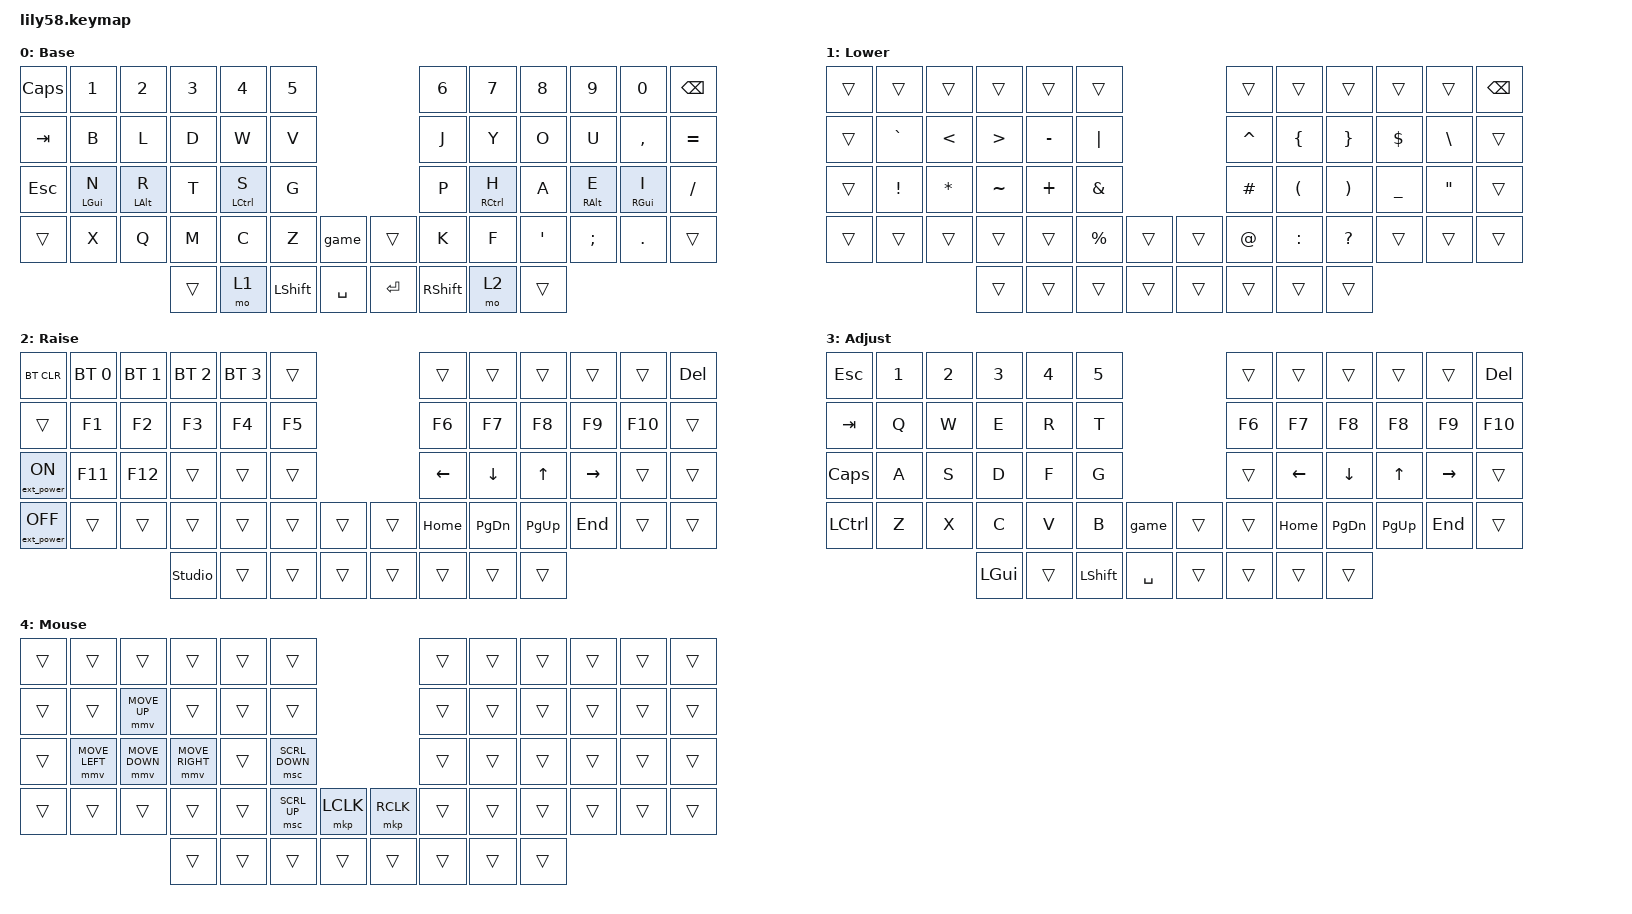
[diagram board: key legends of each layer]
/*
 * Copyright (c) 2020 The ZMK Contributors
 *
 * SPDX-License-Identifier: MIT
 */

#include <behaviors.dtsi>
#include <dt-bindings/zmk/bt.h>
#include <dt-bindings/zmk/ext_power.h>
#include <dt-bindings/zmk/keys.h>
#include <dt-bindings/zmk/pointing.h>

#define default_layer 0
#define lower_layer 1
#define raise_layer 2
#define adjust_layer 3
#define extra 4

/ {
    behaviors {
        home_row_mod: home_row_mod {
            compatible = "zmk,behavior-hold-tap";
            label = "HOME_ROW_MOD";
            bindings = <&kp>, <&kp>;

            #binding-cells = <2>;
            tapping-term-ms = <200>;
            flavor = "tap-preferred";
            require-prior-idle-ms = <125>;
            quick-tap-ms = <175>;
        };

        home_j: home_j {
            compatible = "zmk,behavior-tap-dance";
            label = "HOME_J";
            #binding-cells = <0>;
            bindings = <&home_row_mod RIGHT_CONTROL J>, <&kp J>;

            tapping-term-ms = <130>;
        };

        home_f: home_f {
            compatible = "zmk,behavior-tap-dance";
            label = "HOME_F";
            #binding-cells = <0>;
            bindings = <&home_row_mod LEFT_CONTROL F>, <&kp F>;

            tapping-term-ms = <130>;
        };

        home_a: home_a {
            compatible = "zmk,behavior-tap-dance";
            label = "HOME_A";
            #binding-cells = <0>;
            bindings = <&home_row_mod LEFT_GUI A>, <&kp A>;

            tapping-term-ms = <130>;
        };

        home_semicolon: home_semicolon {
            compatible = "zmk,behavior-tap-dance";
            label = "HOME_SEMICOLON";
            #binding-cells = <0>;
            bindings = <&home_row_mod RIGHT_GUI SEMICOLON>, <&kp SEMICOLON>;

            tapping-term-ms = <130>;
        };

        home_s: home_s {
            compatible = "zmk,behavior-tap-dance";
            label = "HOME_S";
            #binding-cells = <0>;
            bindings = <&home_row_mod LEFT_ALT S>, <&kp S>;

            tapping-term-ms = <130>;
        };

        home_l: home_l {
            compatible = "zmk,behavior-tap-dance";
            label = "HOME_L";
            #binding-cells = <0>;
            bindings = <&home_row_mod RIGHT_ALT L>, <&kp L>;

            tapping-term-ms = <130>;
        };

        game: game {
            compatible = "zmk,behavior-tap-dance";
            label = "GAME";
            #binding-cells = <0>;
            bindings = <&none>, <&tog 3>;
        };
    };

    keymap {
        compatible = "zmk,keymap";

        default_layer {
            display-name = "Base";

            // ------------------------------------------------------------------------------------------------------------
            // |  ESC  |  1  |  2  |  3   |  4   |  5   |                   |  6   |  7    |  8    |  9   |   0   |   `   |
            // |  TAB  |  Q  |  W  |  E   |  R   |  T   |                   |  Y   |  U    |  I    |  O   |   P   |   -   |
            // |  CTRL |  A  |  S  |  D   |  F   |  G   |                   |  H   |  J    |  K    |  L   |   ;   |   '   |
            // | SHIFT |  Z  |  X  |  C   |  V   |  B   |   "["  |  |  "]"  |  N   |  M    |  ,    |  .   |   /   | SHIFT |
            //                     | ALT  | GUI  | LOWER|  SPACE |  | ENTER | RAISE| BSPC  | GUI   |

            bindings = <
&kp CAPSLOCK  &kp N1                    &kp N2                    &kp N3  &kp N4                        &kp N5                                &kp N6           &kp N7                         &kp N8            &kp N9                     &kp N0                     &kp BACKSPACE
&kp TAB       &kp B                     &kp L                     &kp D   &kp W                         &kp V                                 &kp J            &kp Y                          &kp O             &kp U                      &kp COMMA                  &kp EQUAL
&kp ESCAPE    &home_row_mod LEFT_GUI N  &home_row_mod LEFT_ALT R  &kp T   &home_row_mod LEFT_CONTROL S  &kp G                                 &kp P            &home_row_mod RIGHT_CONTROL H  &kp A             &home_row_mod RIGHT_ALT E  &home_row_mod RIGHT_GUI I  &kp SLASH
&trans        &kp X                     &kp Q                     &kp M   &kp C                         &kp Z           &game        &trans   &kp K            &kp F                          &kp SINGLE_QUOTE  &kp SEMICOLON              &kp PERIOD                 &trans
                                                                  &trans  &mo 1                         &kp LEFT_SHIFT  &kp SPACE    &kp RET  &kp RIGHT_SHIFT  &mo 2                          &trans
            >;
        };

        lower_layer {
            display-name = "Lower";

            // ------------------------------------------------------------------------------------------------------------
            // | BTCLR | BT1 | BT2 |  BT3 |  BT4 |  BT5 |                   |      |       |       |      |       |       |
            // |  F1   |  F2 |  F3 |  F4  |  F5  |  F6  |                   |  F7  |  F8   |  F9   |  F10 |  F11  |  F12  |
            // |   `   |  !  |  @  |  #   |  $   |  %   |                   |  ^   |  &    |  *    |  (   |   )   |   ~   |
            // |       |     |     |      |      |      |        |  |       |      |  _    |  +    |  {   |   }   |  "|"  |
            //                     |      |      |      |        |  |       |      |       |       |

            bindings = <
&trans  &trans           &trans         &trans            &trans     &trans                           &trans       &trans                &trans                 &trans      &trans             &kp BACKSPACE
&trans  &kp GRAVE        &kp LESS_THAN  &kp GREATER_THAN  &kp MINUS  &kp PIPE                         &kp CARET    &kp LEFT_BRACE        &kp RIGHT_BRACE        &kp DOLLAR  &kp BACKSLASH      &trans
&trans  &kp EXCLAMATION  &kp ASTERISK   &kp TILDE         &kp PLUS   &kp AMPERSAND                    &kp HASH     &kp LEFT_PARENTHESIS  &kp RIGHT_PARENTHESIS  &kp UNDER   &kp DOUBLE_QUOTES  &trans
&trans  &trans           &trans         &trans            &trans     &kp PERCENT    &trans    &trans  &kp AT_SIGN  &kp COLON             &kp QUESTION           &trans      &trans             &trans
                                        &trans            &trans     &trans         &trans    &trans  &trans       &trans                &trans
            >;
        };

        raise_layer {
            display-name = "Raise";

            // ------------------------------------------------------------------------------------------------------------
            // |       |     |     |      |      |      |                   |      |       |       |      |       |       |
            // |   `   |  1  |  2  |  3   |  4   |  5   |                   |  6   |   7   |   8   |  9   |   0   |       |
            // |   F1  |  F2 |  F3 |  F4  |  F5  |  F6  |                   |      |   <-  |   v   |  ^   |  ->   |       |
            // |   F7  |  F8 |  F9 |  F10 |  F11 |  F12 |        |  |       |  +   |   -   |   =   |  [   |   ]   |   \   |
            //                     |      |      |      |        |  |       |      |       |       |

            bindings = <
&bt BT_CLR         &bt BT_SEL 0  &bt BT_SEL 1  &bt BT_SEL 2    &bt BT_SEL 3  &trans                    &trans          &trans          &trans        &trans           &trans   &kp DELETE
&trans             &kp F1        &kp F2        &kp F3          &kp F4        &kp F5                    &kp F6          &kp F7          &kp F8        &kp F9           &kp F10  &trans
&ext_power EP_ON   &kp F11       &kp F12       &trans          &trans        &trans                    &kp LEFT_ARROW  &kp DOWN_ARROW  &kp UP_ARROW  &kp RIGHT_ARROW  &trans   &trans
&ext_power EP_OFF  &trans        &trans        &trans          &trans        &trans  &trans    &trans  &kp HOME        &kp PAGE_DOWN   &kp PAGE_UP   &kp END          &trans   &trans
                                               &studio_unlock  &trans        &trans  &trans    &trans  &trans          &trans          &trans
            >;
        };

        adjust_layer {
            display-name = "Adjust";

            // ------------------------------------------------------------------------------------------------------------
            // |       |     |     |      |      |      |                   |      |       |       |      |       |       |
            // |   `   |  1  |  2  |  3   |  4   |  5   |                   |  6   |   7   |   8   |  9   |   0   |       |
            // |   F1  |  F2 |  F3 |  F4  |  F5  |  F6  |                   |      |   <-  |   v   |  ^   |  ->   |       |
            // |   F7  |  F8 |  F9 |  F10 |  F11 |  F12 |        |  |       |  +   |   -   |   =   |  [   |   ]   |   \   |
            //                     |      |      |      |        |  |       |      |       |       |

            bindings = <
&kp ESCAPE    &kp NUMBER_1  &kp NUMBER_2  &kp NUMBER_3  &kp NUMBER_4  &kp N5                               &trans  &trans    &trans         &trans     &trans     &kp DELETE
&kp TAB       &kp Q         &kp W         &kp E         &kp R         &kp T                                &kp F6  &kp F7    &kp F8         &kp F8     &kp F9     &kp F10
&kp CAPSLOCK  &kp A         &kp S         &kp D         &kp F         &kp G                                &trans  &kp LEFT  &kp DOWN       &kp UP     &kp RIGHT  &trans
&kp LCTRL     &kp Z         &kp X         &kp C         &kp V         &kp B           &game        &trans  &trans  &kp HOME  &kp PAGE_DOWN  &kp PG_UP  &kp END    &trans
                                          &kp LEFT_GUI  &trans        &kp LEFT_SHIFT  &kp SPACE    &trans  &trans  &trans    &trans
            >;
        };

        extra {
            display-name = "Mouse";

            // ------------------------------------------------------------------------------------------------------------
            // |       |     |     |      |      |      |                   |      |       |       |      |       |       |
            // |   `   |  1  |  2  |  3   |  4   |  5   |                   |  6   |   7   |   8   |  9   |   0   |       |
            // |   F1  |  F2 |  F3 |  F4  |  F5  |  F6  |                   |      |   <-  |   v   |  ^   |  ->   |       |
            // |   F7  |  F8 |  F9 |  F10 |  F11 |  F12 |        |  |       |  +   |   -   |   =   |  [   |   ]   |   \   |
            //                     |      |      |      |        |  |       |      |       |       |

            bindings = <
&trans  &trans          &trans          &trans           &trans  &trans                                  &trans  &trans  &trans  &trans  &trans  &trans
&trans  &trans          &mmv MOVE_UP    &trans           &trans  &trans                                  &trans  &trans  &trans  &trans  &trans  &trans
&trans  &mmv MOVE_LEFT  &mmv MOVE_DOWN  &mmv MOVE_RIGHT  &trans  &msc SCRL_DOWN                          &trans  &trans  &trans  &trans  &trans  &trans
&trans  &trans          &trans          &trans           &trans  &msc SCRL_UP    &mkp LCLK    &mkp RCLK  &trans  &trans  &trans  &trans  &trans  &trans
                                        &trans           &trans  &trans          &trans       &trans     &trans  &trans  &trans
            >;
        };
    };
};
